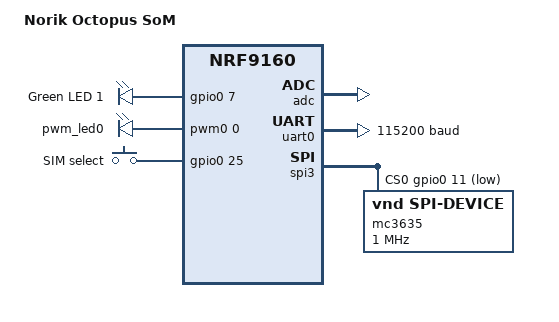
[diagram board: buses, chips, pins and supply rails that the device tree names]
/*
 * Copyright (c) 2023-2024 Norik Systems
 *
 * SPDX-License-Identifier: Apache-2.0
 */
#include "norik_octopus_som_common-pinctrl.dtsi"

/ {
   	model = "Norik Octopus SoM";
   	compatible = "norik,octopus-som";

   	chosen {
	   zephyr,console = &uart0;
	   zephyr,shell-uart = &uart0;
	   zephyr,uart-mcumgr = &uart0;
   	};

   	leds {
	   compatible = "gpio-leds";
	   led0: led_0 {
		   gpios = <&gpio0 7 0>;
		   label = "Green LED 1";
	   };
   	};
	
	pwmleds {
		compatible = "pwm-leds";
		pwm_led0: pwm_led_0 {
			pwms = <&pwm0 0 PWM_MSEC(20) PWM_POLARITY_NORMAL>;
		};
	};

	simselect-controller{
		compatible = "gpio-keys";
		sim_select: sim_select {
			label = "SIM select";
			gpios = <&gpio0 25 GPIO_ACTIVE_HIGH>;
		};
	};


   /* These aliases are provided for compatibility with samples */
   aliases {
	   led0 = &led0;
	   pwm-led0 = &pwm_led0;
	   watchdog0 = &wdt0;
	   simselect = &sim_select;
   };
};

&adc {
   status = "okay";
};

&gpiote {
   status = "okay";
};

&gpio0 {
   status = "okay";
};

&uart0 {
   status = "okay";
   current-speed = <115200>;
   pinctrl-0 = <&uart0_default>;
   pinctrl-1 = <&uart0_sleep>;
   pinctrl-names = "default", "sleep";
};

&spi3 {
	compatible = "nordic,nrf-spim";
	status = "okay";
	cs-gpios = <&gpio0 11 GPIO_ACTIVE_LOW>;

	pinctrl-0 = <&spi3_default>;
	pinctrl-1 = <&spi3_sleep>;
	pinctrl-names = "default", "sleep";
	mc3635: mc3635@0 {
		compatible = "vnd,spi-device";
		spi-max-frequency = <1000000>;
		reg = <0>;
//		int1-gpios = <&gpio0 12 0>;
		label = "mc3635";
	};
};

&flash0 {
	partitions {
		compatible = "fixed-partitions";
		#address-cells = <1>;
		#size-cells = <1>;

		boot_partition: partition@0 {
			label = "mcuboot";
			reg = <0x00000000 0x10000>;
		};
		slot0_partition: partition@10000 {
			label = "image-0";
		};
		slot0_ns_partition: partition@50000 {
			label = "image-0-nonsecure";
		};
		slot1_partition: partition@80000 {
			label = "image-1";
		};
		slot1_ns_partition: partition@c0000 {
			label = "image-1-nonsecure";
		};
		storage_partition: partition@f8000 {
			label = "storage";
			reg = <0x000f8000 0x00008000>;
		};
	};
};

/ {

	reserved-memory {
		#address-cells = <1>;
		#size-cells = <1>;
		ranges;

		sram0_s: image_s@20000000 {
			/* Secure image memory */
		};

		sram0_modem: image_modem@20016000 {
			/* Modem (shared) memory */
		};

		sram0_ns: image_ns@20020000 {
			/* Non-Secure image memory */
		};
	};
};

/* Include partition configuration file */
#include "norik_octopus_som_nrf9160_partition_conf.dtsi"
